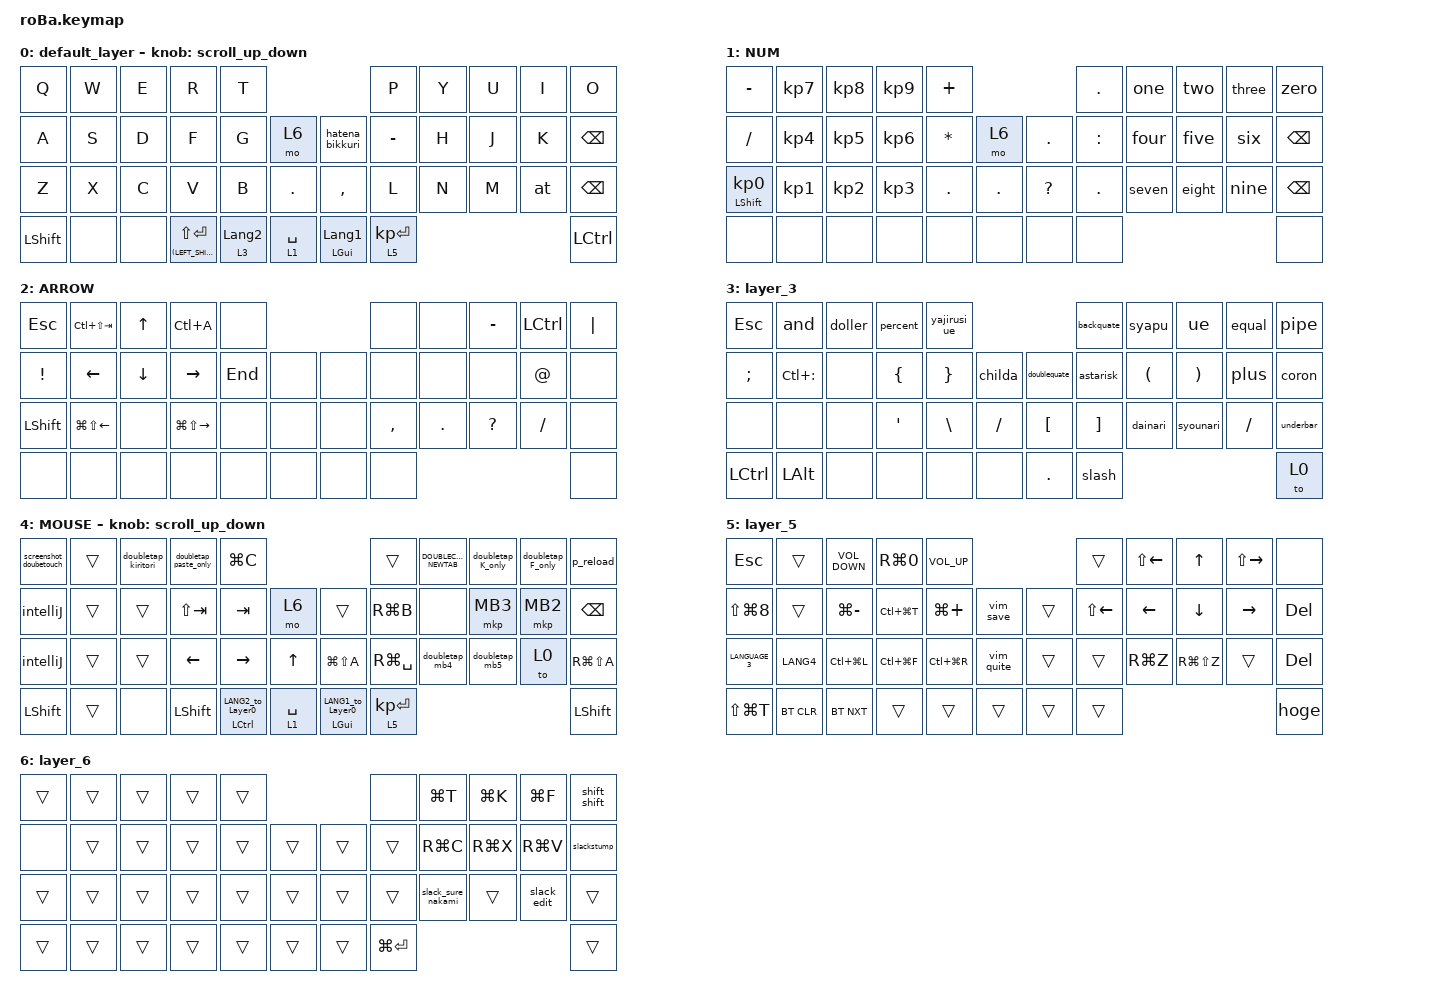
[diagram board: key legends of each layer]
#include <behaviors.dtsi>
#include <dt-bindings/zmk/bt.h>
#include <dt-bindings/zmk/keys.h>
#include <dt-bindings/zmk/pointing.h>

#define ZMK_POINTING_DEFAULT_SCRL_VAL 100

&trackball {
    automouse-layer = <4>;
    scroll-layers = <6>;

    arrows {
        layers = <5>;
        bindings =
            <&kp RIGHT_ARROW>,
            <&kp LEFT_ARROW>,
            <&kp UP_ARROW>,
            <&kp DOWN_ARROW>;

        tick = <180>;
        wait-ms = <80>;
        tap-ms = <5>;
    };
};

/ {
    behaviors {
        // 新しいスクロール動作の追加

        scroll_up_down: behavior_sensor_rotate_mouse_wheel_up_down {
            compatible = "zmk,behavior-sensor-rotate";
            #sensor-binding-cells = <0>;
            bindings = <&msc SCRL_DOWN>, <&msc SCRL_UP>;

            // 追加: スクロールのタップ時間を設定 (20ms)

            tap-ms = <20>;
        };

        hold_mouceto0: hold_mouceto0 {
            compatible = "zmk,behavior-hold-tap";
            label = "HOLD_MOUCETO0";
            bindings = <&mkp>, <&mouceto0>;

            #binding-cells = <2>;
            tapping-term-ms = <100>;
            flavor = "tap-preferred";
        };

        MOUCE_LAYER_LANG1: MOUCE_LAYER_LANG1 {
            compatible = "zmk,behavior-hold-tap";
            label = "MOUCE_LAYER_LANG1";
            bindings = <&kp>, <&LANG1_to_Layer0>;

            #binding-cells = <2>;
            flavor = "tap-unless-interrupted";
            tapping-term-ms = <40>;
        };

        MOUCE_LAYER_LANG2: MOUCE_LAYER_LANG2 {
            compatible = "zmk,behavior-hold-tap";
            label = "MOUCE_LAYER_LANG2";
            bindings = <&kp>, <&LANG2_to_Layer0>;

            #binding-cells = <2>;
            tapping-term-ms = <40>;
            flavor = "tap-unless-interrupted";
        };

        p_reload: p_reload {
            compatible = "zmk,behavior-tap-dance";
            label = "P_RELOAD";
            #binding-cells = <0>;
            bindings = <&kp P>, <&kp LG(R)>;
        };

        screenshot_doubetouch: screenshot_doubetouch {
            compatible = "zmk,behavior-tap-dance";
            label = "SCREENSHOT_DOUBETOUCH";
            #binding-cells = <0>;
            bindings = <&none>, <&kp RG(LS(C))>;
        };

        SLACK_STAMP_RIGHT_CLICK: SLACK_STAMP_RIGHT_CLICK {
            compatible = "zmk,behavior-tap-dance";
            label = "SLACK_STAMP_RIGHT_CLICK";
            #binding-cells = <0>;
            bindings = <&mkp MB2>, <&slackstump>;
        };

        MOUSE_LANG2_SHIFT: MOUSE_LANG2_SHIFT {
            compatible = "zmk,behavior-hold-tap";
            label = "MOUSE_LANG2_SHIFT";
            bindings = <&kp>, <&LANG2_to_Layer0>;

            #binding-cells = <2>;
            tapping-term-ms = <40>;
            flavor = "tap-preferred";
        };

        SLACK_STAMP_L: SLACK_STAMP_L {
            compatible = "zmk,behavior-tap-dance";
            label = "SLACK_STAMP_L";
            #binding-cells = <0>;
            bindings = <&kp L>, <&slackstump>;
        };

        DOUBLECLICK_NEWTAB: DOUBLECLICK_NEWTAB {
            compatible = "zmk,behavior-tap-dance";
            label = "DOUBLECLICK_NEWTAB";
            #binding-cells = <0>;
            bindings = <&none>, <&newtab_to_layer0>;
        };

        MOUSE_LANG1_GUI: MOUSE_LANG1_GUI {
            compatible = "zmk,behavior-hold-tap";
            label = "MOUSE_LANG1_GUI";
            bindings = <&kp>, <&LANG1_to_Layer0>;

            #binding-cells = <2>;
            tapping-term-ms = <40>;
            flavor = "tap-preferred";
        };

        CTRL_F_K: CTRL_F_K {
            compatible = "zmk,behavior-tap-dance";
            label = "CTRL_F_K";
            #binding-cells = <0>;
            bindings = <&find_to_layer0>, <&findK_to_layer0>;
        };

        Haihun_Bikkuri: Haihun_Bikkuri {
            compatible = "zmk,behavior-tap-dance";
            label = "HAIHUN_BIKKURI";
            #binding-cells = <0>;
            bindings = <&kp MINUS>, <&kp EXCLAMATION>;
        };

        Connma_Question: Connma_Question {
            compatible = "zmk,behavior-tap-dance";
            label = "CONNMA_QUESTION";
            #binding-cells = <0>;
            bindings = <&kp COMMA>, <&kp QUESTION>;
        };

        DOUBLE_TAP_SLACKTTUMP: DOUBLE_TAP_SLACKTTUMP {
            compatible = "zmk,behavior-tap-dance";
            label = "DOUBLE_TAP_SLACKTTUMP";
            #binding-cells = <0>;
            bindings = <&none>, <&slackstump>;
        };

        haihun_doubletap_ctrlz: haihun_doubletap_ctrlz {
            compatible = "zmk,behavior-tap-dance";
            label = "HAIHUN_DOUBLETAP_CTRLZ";
            #binding-cells = <0>;
            bindings = <&kp MINUS>, <&ctrlz_to_layer0>;
        };

        L_doubletap_ctrlshiftz: L_doubletap_ctrlshiftz {
            compatible = "zmk,behavior-tap-dance";
            label = "L_DOUBLETAP_CTRLSHIFTZ";
            #binding-cells = <0>;
            bindings = <&kp L>, <&kp RG(LS(Z))>;
        };

        doubletap_mb4: doubletap_mb4 {
            compatible = "zmk,behavior-tap-dance";
            label = "DOUBLETAP_MB4";
            #binding-cells = <0>;
            bindings = <&none>, <&mkp MB4>;
        };

        doubletap_mb5: doubletap_mb5 {
            compatible = "zmk,behavior-tap-dance";
            label = "DOUBLETAP_MB5";
            #binding-cells = <0>;
            bindings = <&none>, <&mkp MB5>;
        };

        layer0shift_kaigyo: layer0shift_kaigyo {
            compatible = "zmk,behavior-hold-tap";
            label = "LAYER0SHIFT_KAIGYO";
            bindings = <&layer0_to_shift>, <&kp>;

            #binding-cells = <2>;
            tapping-term-ms = <100>;
            flavor = "balanced";
        };

        intelliJ: intelliJ {
            compatible = "zmk,behavior-tap-dance";
            label = "INTELLIJ";
            #binding-cells = <0>;
            bindings = <&kp LC(C)>, <&kp RG(LC(C))>;
        };

        doubletap_copy: doubletap_copy {
            compatible = "zmk,behavior-tap-dance";
            label = "DOUBLETAP_COPY";
            #binding-cells = <0>;
            bindings = <&none>, <&kp LG(C)>;
        };

        doubletap_kiritori: doubletap_kiritori {
            compatible = "zmk,behavior-tap-dance";
            label = "DOUBLETAP_KIRITORI";
            #binding-cells = <0>;
            bindings = <&none>, <&kp LG(X)>;
        };

        alfabet_numkey: alfabet_numkey {
            compatible = "zmk,behavior-hold-tap";
            label = "ALFABET_NUMKEY";
            bindings = <&alfabet_layer1>, <&alfabet_space>;

            #binding-cells = <2>;
            tapping-term-ms = <100>;
        };

        r_doubletap_paste: r_doubletap_paste {
            compatible = "zmk,behavior-tap-dance";
            label = "R_DOUBLETAP_PASTE";
            #binding-cells = <0>;
            bindings = <&kp R>, <&kp RG(V)>;
        };

        doubletap_paste_only: doubletap_paste_only {
            compatible = "zmk,behavior-tap-dance";
            label = "DOUBLETAP_PASTE_ONLY";
            #binding-cells = <0>;
            bindings = <&none>, <&kp RG(V)>;
        };

        a_gui: a_gui {
            compatible = "zmk,behavior-hold-tap";
            label = "A_GUI";
            bindings = <&kp>, <&kp>;

            #binding-cells = <2>;
            tapping-term-ms = <100>;
            flavor = "tap-preferred";
        };

        hatena_bikkuri: hatena_bikkuri {
            compatible = "zmk,behavior-tap-dance";
            label = "HATENA_BIKKURI";
            #binding-cells = <0>;
            bindings = <&kp QUESTION>, <&kp EXCL>;
        };

        hannkakuspace_layer: hannkakuspace_layer {
            compatible = "zmk,behavior-hold-tap";
            label = "HANNKAKUSPACE_LAYER";
            bindings = <&mo>, <&space_hankaku>;

            #binding-cells = <2>;
            tapping-term-ms = <200>;
            flavor = "balanced";
        };

        eisuushift_enter: eisuushift_enter {
            compatible = "zmk,behavior-hold-tap";
            label = "EISUUSHIFT_ENTER";
            bindings = <&eisuu_shift>, <&kp>;

            #binding-cells = <2>;
            tapping-term-ms = <200>;
            flavor = "balanced";
        };

        doubletap_K_only: doubletap_K_only {
            compatible = "zmk,behavior-tap-dance";
            label = "DOUBLETAP_K_ONLY";
            #binding-cells = <0>;
            bindings = <&none>, <&findK_to_layer0>;
        };

        doubletap_F_only: doubletap_F_only {
            compatible = "zmk,behavior-tap-dance";
            label = "DOUBLETAP_F_ONLY";
            #binding-cells = <0>;
            bindings = <&none>, <&kp RG(F)>;
        };

        slash_backslash: slash_backslash {
            compatible = "zmk,behavior-tap-dance";
            label = "SLASH_BACKSLASH";
            #binding-cells = <0>;
            bindings = <&slash>, <&backslash>;
        };

        hoge: hoge {
            compatible = "zmk,behavior-tap-dance";
            label = "HOGE";
            #binding-cells = <0>;
            bindings = <&none>, <&hoge1>;
        };
    };

    combos {
        compatible = "zmk,combos";

        toDefaultlayer {
            bindings = <&mkp MB1>;
            key-positions = <18 19>;
        };

        tab {
            bindings = <&kp TAB>;
            key-positions = <13 14>;
        };

        kaigyo {
            bindings = <&kp LA(ENTER)>;
            key-positions = <28 41>;
        };

        totsu {
            bindings = <&kp CARET>;
            key-positions = <6 7>;
        };

        claude-copy {
            bindings = <&kp LA(LEFT_GUI)>;
            key-positions = <26 25>;
        };
    };

    macros {
        slackstump: slackstump {
            compatible = "zmk,behavior-macro";
            #binding-cells = <0>;
            bindings = <&to 0 &mkp MB2 &kp R &kp LANGUAGE_2 &to 0>;
            label = "SLACKSTUMP";
        };

        mouceto0: mouceto0 {
            compatible = "zmk,behavior-macro";
            #binding-cells = <0>;
            bindings = <&to 0 &mkp MB1 &kp LANGUAGE_1 &to 0>;
            label = "MOUCETO0";
        };

        newtab_to_layer0: newtab_to_layer0 {
            compatible = "zmk,behavior-macro";
            #binding-cells = <0>;
            bindings = <&to 0 &kp LG(T) &kp LANGUAGE_1>;
            label = "NEWTAB_TO_LAYER0";
        };

        find_to_layer0: find_to_layer0 {
            compatible = "zmk,behavior-macro";
            #binding-cells = <0>;
            bindings = <&to 0 &kp LG(F) &kp LANGUAGE_1>;
            label = "FIND_TO_LAYER0";
        };

        LANG1_to_Layer0: LANG1_to_layer0 {
            compatible = "zmk,behavior-macro";
            #binding-cells = <0>;
            bindings = <&to 0 &kp LANGUAGE_1>;
            label = "LANG1_TO_LAYER0";
        };

        LANG2_to_Layer0: LANG2_to_Layer0 {
            compatible = "zmk,behavior-macro";
            #binding-cells = <0>;
            bindings = <&to 0 &kp LANGUAGE_2>;
            label = "LANG2_TO_LAYER0";
        };

        findK_to_layer0: findK_to_layer0 {
            compatible = "zmk,behavior-macro";
            #binding-cells = <0>;
            bindings = <&to 0 &kp RG(K) &kp LANGUAGE_2>;
            label = "FINDK_TO_LAYER0";
        };

        modoru_doubleclick: modoru_doubleclick {
            compatible = "zmk,behavior-macro";
            #binding-cells = <0>;
            bindings = <&none &mkp MB4>;
            label = "MODORU_DOUBLECLICK";
        };

        susumu_doubleclick: susumu_doubleclick {
            compatible = "zmk,behavior-macro";
            #binding-cells = <0>;
            bindings = <&none &mkp MB5>;
            label = "SUSUMU_DOUBLECLICK";
        };

        ctrlz_to_layer0: ctrlz_to_layer0 {
            compatible = "zmk,behavior-macro";
            #binding-cells = <0>;
            bindings = <&kp LG(Z) &to 0>;
            label = "ctrlz_to_layer0";
        };

        layer0_to_shift: layer0_to_shift {
            compatible = "zmk,behavior-macro";
            #binding-cells = <0>;
            bindings = <&to 0 &kp LEFT_SHIFT>;
            label = "LAYER0_TO_SHIFT";
        };

        slack_sure_nakami: slack_sure_nakami {
            compatible = "zmk,behavior-macro";
            #binding-cells = <0>;
            bindings = <&mkp MB2 &kp T>;
            label = "SLACK_SURE_NAKAMI";
        };

        alfabet_layer1: alfabet_layer1 {
            compatible = "zmk,behavior-macro";
            #binding-cells = <0>;
            bindings = <&kp LANGUAGE_2 &to 1>;
            label = "ALFABET_LAYER1";
        };

        alfabet_space: alfabet_space {
            compatible = "zmk,behavior-macro";
            #binding-cells = <0>;
            bindings = <&kp LANGUAGE_2 &kp SPACE>;
            label = "ALFABET_SPACE";
        };

        one: one {
            compatible = "zmk,behavior-macro";
            #binding-cells = <0>;
            bindings = <&kp LANGUAGE_2 &kp NUMBER_1>;
            label = "ONE";
        };

        two: two {
            compatible = "zmk,behavior-macro";
            #binding-cells = <0>;
            bindings = <&kp LANGUAGE_2 &kp NUMBER_2>;
            label = "TWO";
        };

        haihun: haihun {
            compatible = "zmk,behavior-macro";
            #binding-cells = <0>;
            bindings = <&kp LANGUAGE_2 &kp MINUS>;
            label = "HAIHUN";
        };

        three: three {
            compatible = "zmk,behavior-macro";
            #binding-cells = <0>;
            bindings = <&kp LANGUAGE_2 &kp NUMBER_3>;
            label = "THREE";
        };

        four: four {
            compatible = "zmk,behavior-macro";
            #binding-cells = <0>;
            bindings = <&kp LANGUAGE_2 &kp NUMBER_4>;
            label = "FOUR";
        };

        five: five {
            compatible = "zmk,behavior-macro";
            #binding-cells = <0>;
            bindings = <&kp LANGUAGE_2 &kp N5>;
            label = "FIVE";
        };

        six: six {
            compatible = "zmk,behavior-macro";
            #binding-cells = <0>;
            bindings = <&kp LANGUAGE_2 &kp NUMBER_6>;
            label = "SIX";
        };

        seven: seven {
            compatible = "zmk,behavior-macro";
            #binding-cells = <0>;
            bindings = <&kp LANGUAGE_2 &kp NUMBER_7>;
            label = "SEVEN";
        };

        eight: eight {
            compatible = "zmk,behavior-macro";
            #binding-cells = <0>;
            bindings = <&kp LANGUAGE_2 &kp NUMBER_8>;
            label = "EIGHT";
        };

        nine: nine {
            compatible = "zmk,behavior-macro";
            #binding-cells = <0>;
            bindings = <&kp LANGUAGE_2 &kp NUMBER_9>;
            label = "NINE";
        };

        zero: zero {
            compatible = "zmk,behavior-macro";
            #binding-cells = <0>;
            bindings = <&kp LANGUAGE_2 &kp NUMBER_0>;
            label = "ZERO";
        };

        backquate: backquate {
            compatible = "zmk,behavior-macro";
            #binding-cells = <0>;
            bindings = <&kp LANGUAGE_2 &kp GRAVE>;
            label = "BACKQUATE";
        };

        syapu: syapu {
            compatible = "zmk,behavior-macro";
            #binding-cells = <0>;
            bindings = <&kp LANGUAGE_2 &kp HASH>;
            label = "SYAPU";
        };

        equal: equal {
            compatible = "zmk,behavior-macro";
            #binding-cells = <0>;
            bindings = <&kp LANGUAGE_2 &kp EQUAL>;
            label = "EQUAL";
        };

        astarisk: astarisk {
            compatible = "zmk,behavior-macro";
            #binding-cells = <0>;
            bindings = <&kp LANGUAGE_2 &kp ASTERISK>;
            label = "ASTARISK";
        };

        slash: slash {
            compatible = "zmk,behavior-macro";
            #binding-cells = <0>;
            bindings = <&kp LANGUAGE_2 &kp SLASH>;
            label = "SLASH";
        };

        ue: ue {
            compatible = "zmk,behavior-macro";
            #binding-cells = <0>;
            bindings = <&kp LANGUAGE_2 &kp CARET>;
            label = "UE";
        };

        dainari: dainari {
            compatible = "zmk,behavior-macro";
            #binding-cells = <0>;
            bindings = <&kp LANGUAGE_2 &kp LESS_THAN>;
            label = "DAINARI";
        };

        syounari: syounari {
            compatible = "zmk,behavior-macro";
            #binding-cells = <0>;
            bindings = <&kp LANGUAGE_2 &kp GREATER_THAN>;
            label = "SYOUNARI";
        };

        coron: coron {
            compatible = "zmk,behavior-macro";
            #binding-cells = <0>;
            bindings = <&kp LANGUAGE_2 &kp COLON>;
            label = "CORON";
        };

        semicoron: semicoron {
            compatible = "zmk,behavior-macro";
            #binding-cells = <0>;
            bindings = <&kp LANGUAGE_2 &kp SEMICOLON>;
            label = "SEMICORON";
        };

        underbar: underbar {
            compatible = "zmk,behavior-macro";
            #binding-cells = <0>;
            bindings = <&kp LANGUAGE_2 &kp UNDERSCORE>;
            label = "UNDERBAR";
        };

        plus: plus {
            compatible = "zmk,behavior-macro";
            #binding-cells = <0>;
            bindings = <&kp LANGUAGE_2 &kp PLUS>;
            label = "PLUS";
        };

        doublequate: doublequate {
            compatible = "zmk,behavior-macro";
            #binding-cells = <0>;
            bindings = <&kp LANGUAGE_2 &kp DOUBLE_QUOTES>;
            label = "DOUBLEQUATE";
        };

        slack_edit: slack_edit {
            compatible = "zmk,behavior-macro";
            #binding-cells = <0>;
            bindings = <&mkp MB2 &kp E>;
            label = "SLACK_EDIT";
        };

        space_hankaku: space_hankaku {
            compatible = "zmk,behavior-macro";
            #binding-cells = <0>;
            bindings = <&kp LANGUAGE_2 &kp SPACE &kp LANGUAGE_2>;
            label = "SPACE_HANKAKU";
        };

        eisuu_shift: eisuu_shift {
            compatible = "zmk,behavior-macro";
            #binding-cells = <0>;
            bindings = <&kp LANGUAGE_2 &kp LEFT_SHIFT>;
            label = "EISUU_SHIFT";
        };

        childa: childa {
            compatible = "zmk,behavior-macro";
            #binding-cells = <0>;
            bindings = <&kp LANGUAGE_2 &kp TILDE>;
            label = "CHILDA";
        };

        pipe: pipe {
            compatible = "zmk,behavior-macro";
            #binding-cells = <0>;
            bindings = <&kp LANGUAGE_2 &kp PIPE>;
            label = "PIPE";
        };

        backslash: backslash {
            compatible = "zmk,behavior-macro";
            #binding-cells = <0>;
            bindings = <&kp LANGUAGE_2 &kp BACKSLASH>;
            label = "BACKSLASH";
        };

        vim_save: vim_save {
            compatible = "zmk,behavior-macro";
            #binding-cells = <0>;
            bindings = <&kp ESCAPE &kp COLON &kp W &kp Q>;
            label = "VIM_SAVE";
        };

        vim_quite: vim_quite {
            compatible = "zmk,behavior-macro";
            #binding-cells = <0>;
            bindings = <&kp ESCAPE &kp COLON &kp Q>;
            label = "VIM_QUITE";
        };

        zoom: zoom {
            compatible = "zmk,behavior-macro";
            #binding-cells = <0>;
            bindings = <&kp LEFT_COMMAND &kp PLUS>;
            label = "ZOOM";
        };

        zoom_out: zoom_out {
            compatible = "zmk,behavior-macro";
            #binding-cells = <0>;
            bindings = <&kp LEFT_COMMAND &kp MINUS>;
            label = "ZOOM_OUT";
        };

        zoom_zero: zoom_zero {
            compatible = "zmk,behavior-macro";
            #binding-cells = <0>;
            bindings = <&kp LEFT_COMMAND &kp NUMBER_0>;
            label = "ZOOM_ZERO";
        };

        percent: percent {
            compatible = "zmk,behavior-macro";
            #binding-cells = <0>;
            bindings = <&kp LANGUAGE_2 &kp PERCENT>;
            label = "PERCENT";
        };

        doller: doller {
            compatible = "zmk,behavior-macro";
            #binding-cells = <0>;
            bindings = <&kp LANGUAGE_2 &kp DOLLAR>;
            label = "DOLLER";
        };

        and: and {
            compatible = "zmk,behavior-macro";
            #binding-cells = <0>;
            bindings = <&kp LANGUAGE_2 &kp AMPERSAND>;
            label = "AND";
        };

        bikkuri: bikkuri {
            compatible = "zmk,behavior-macro";
            #binding-cells = <0>;
            bindings = <&kp LANGUAGE_2 &kp EXCLAMATION>;
            label = "BIKKURI";
        };

        hoge1: hoge {
            compatible = "zmk,behavior-macro";
            #binding-cells = <0>;
            bindings = <&kp LS(M) &kp A &kp T &kp U &kp I &kp PERIOD &kp NUMBER_7 &kp PERIOD &kp NUMBER_2 &kp NUMBER_6 &kp PERIOD>;
            label = "hoge";
        };

        at: at {
            compatible = "zmk,behavior-macro";
            #binding-cells = <0>;
            bindings = <&kp LANGUAGE_2 &kp AT_SIGN>;
            label = "AT";
        };

        yajirusi_ue: yajirusi_ue {
            compatible = "zmk,behavior-macro";
            #binding-cells = <0>;
            bindings = <&kp LANGUAGE_2 &kp CARET &kp U &kp E>;
            label = "YAJIRUSI_UE";
        };

        shift_shift: shift_shift {
            compatible = "zmk,behavior-macro";
            #binding-cells = <0>;
            bindings = <&kp LSHIFT &kp LSHIFT>;
            label = "SHIFT_SHIFT";
        };
    };

    keymap {
        compatible = "zmk,keymap";

        default_layer {
            bindings = <
&kp Q           &kp W  &kp E  &kp R                       &kp T                                                       &kp P           &kp Y  &kp U  &kp I  &kp O
&kp A           &kp S  &kp D  &kp F                       &kp G             &mo 6            &hatena_bikkuri          &kp MINUS       &kp H  &kp J  &kp K  &kp BACKSPACE
&kp Z           &kp X  &kp C  &kp V                       &kp B             &kp PERIOD       &kp COMMA                &kp L           &kp N  &kp M  &at    &kp BACKSPACE
&kp LEFT_SHIFT  &none  &none  &mt (LEFT_SHIFT) LS(ENTER)  &lt 3 LANGUAGE_2  &lt 1 SPACE      &mt LEFT_GUI LANGUAGE_1  &lt 5 KP_ENTER                       &kp LCTRL
            >;

            sensor-bindings = <&scroll_up_down>;
        };

        NUM {
            bindings = <
&kp MINUS                   &kp KP_NUMBER_7  &kp KP_NUMBER_8  &kp KP_NUMBER_9  &kp PLUS                                    &kp DOT    &one    &two    &three  &zero
&kp SLASH                   &kp KP_NUMBER_4  &kp KP_NUMBER_5  &kp KP_NUMBER_6  &kp ASTERISK  &mo 6           &kp PERIOD    &kp COLON  &four   &five   &six    &kp BACKSPACE
&mt LEFT_SHIFT KP_NUMBER_0  &kp KP_NUMBER_1  &kp KP_NUMBER_2  &kp KP_NUMBER_3  &kp PERIOD    &kp PERIOD      &kp QUESTION  &kp DOT    &seven  &eight  &nine   &kp BACKSPACE
&none                       &none            &none            &none            &none         &none           &none         &none                              &none
            >;
        };

        ARROW {
            bindings = <
&kp ESCAPE       &kp LC(LS(TAB))         &kp UP_ARROW    &kp LC(A)                &none                      &none      &none       &kp MINUS     &kp LCTRL    &kp PIPE
&kp EXCLAMATION  &kp LEFT_ARROW          &kp DOWN_ARROW  &kp RIGHT_ARROW          &kp END  &none      &none  &none      &none       &none         &kp AT_SIGN  &none
&kp LEFT_SHIFT   &kp LG(LS(LEFT_ARROW))  &none           &kp LG(LS(RIGHT_ARROW))  &none    &none      &none  &kp COMMA  &kp PERIOD  &kp QUESTION  &kp SLASH    &none
&none            &none                   &none           &none                    &none    &none      &none  &none                                             &none
            >;
        };

        layer_3 {
            bindings = <
&kp ESCAPE        &and           &doller  &percent          &yajirusi_ue                                  &backquate  &syapu                &ue                    &equal     &pipe
&kp SEMICOLON     &kp LC(COLON)  &none    &kp LEFT_BRACE    &kp RIGHT_BRACE  &childa        &doublequate  &astarisk   &kp LEFT_PARENTHESIS  &kp RIGHT_PARENTHESIS  &plus      &coron
&none             &none          &none    &kp SINGLE_QUOTE  &kp BACKSLASH    &kp SLASH      &kp LBKT      &kp RBKT    &dainari              &syounari              &kp SLASH  &underbar
&kp LEFT_CONTROL  &kp LALT       &none    &none             &none            &none          &kp PERIOD    &slash                                                              &to 0
            >;
        };

        MOUSE {
            bindings = <
&screenshot_doubetouch  &trans  &doubletap_kiritori  &doubletap_paste_only  &kp LG(C)                                                                         &trans          &DOUBLECLICK_NEWTAB  &doubletap_K_only  &doubletap_F_only  &p_reload
&intelliJ               &trans  &trans               &kp LS(TAB)            &kp TAB                            &mo 6             &trans                       &kp RG(B)       &none                &mkp MB3           &mkp MB2           &kp BACKSPACE
&intelliJ               &trans  &trans               &kp LEFT_ARROW         &kp RIGHT_ARROW                    &kp UP_ARROW      &kp LG(LS(A))                &kp RG(SPACE)   &doubletap_mb4       &doubletap_mb5     &to 0              &kp RG(LS(A))
&kp LEFT_SHIFT          &trans  &none                &kp LEFT_SHIFT         &MOUSE_LANG2_SHIFT LEFT_CONTROL 0  &lt 1 SPACE       &MOUSE_LANG1_GUI LEFT_GUI 0  &lt 5 KP_ENTER                                                             &kp LEFT_SHIFT
            >;

            sensor-bindings = <&scroll_up_down>;
        };

        layer_5 {
            bindings = <
&kp ESCAPE      &trans      &kp C_VOLUME_DOWN  &kp RG(NUMBER_0)  &kp C_VOLUME_UP                          &trans        &kp LS(LEFT)  &kp UP         &kp LS(RIGHT)  &none
&kp LS(LG(N8))  &trans      &kp LG(MINUS)      &kp LC(LG(T))     &kp LG(PLUS)     &vim_save       &trans  &kp LS(LEFT)  &kp LEFT      &kp DOWN       &kp RIGHT      &kp DELETE
&kp LANGUAGE_3  &kp LANG4   &kp LC(LG(L))      &kp LC(LG(F))     &kp LC(LG(R))    &vim_quite      &trans  &trans        &kp RG(Z)     &kp RG(LS(Z))  &trans         &kp DELETE
&kp LS(LG(T))   &bt BT_CLR  &bt BT_NXT         &trans            &trans           &trans          &trans  &trans                                                    &hoge
            >;
        };

        layer_6 {
            bindings = <
&trans  &trans  &trans  &trans  &trans                      &none          &kp LG(T)           &kp LG(K)  &kp LG(F)    &shift_shift
&none   &trans  &trans  &trans  &trans  &trans      &trans  &trans         &kp RG(C)           &kp RG(X)  &kp RG(V)    &slackstump
&trans  &trans  &trans  &trans  &trans  &trans      &trans  &trans         &slack_sure_nakami  &trans     &slack_edit  &trans
&trans  &trans  &trans  &trans  &trans  &trans      &trans  &kp LG(ENTER)                                              &trans
            >;
        };
    };
};
